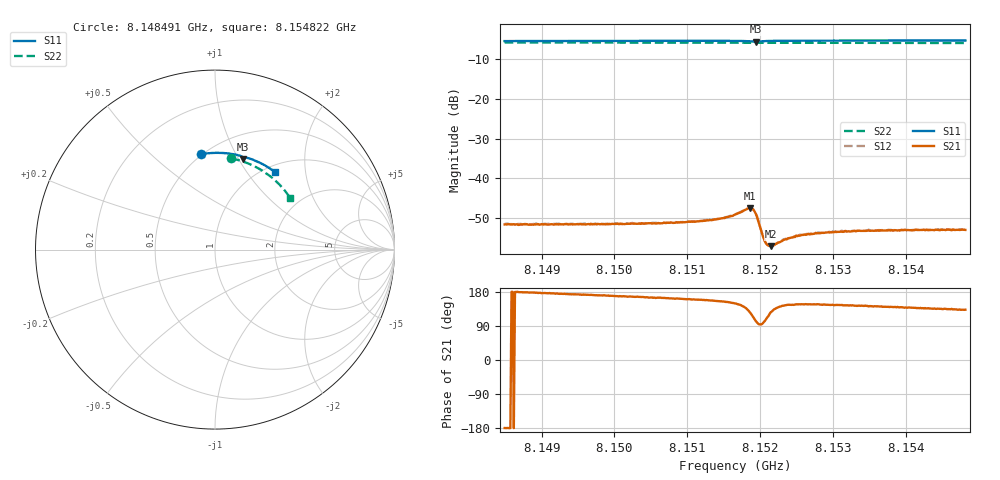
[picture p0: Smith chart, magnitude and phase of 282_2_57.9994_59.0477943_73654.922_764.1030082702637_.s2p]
#  HZ  S  RI  R  50.00
! Rohde & Schwarz Vector Network Analyzer
! Rohde-Schwarz,ZNB20-2Port,1311601062101988,3.16
! Created: UTC 3/21/2024, 1:02:55 AM
! freq[Hz]  re:S11  im:S11  re:S21  im:S21  re:S12  im:S12  re:S22  im:S22
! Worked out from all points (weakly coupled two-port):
!   401 points, 8.148491 GHz to 8.154822 GHz, reference 50 ohm
!   highest |S21| = -47.54 dB at 8.151862 GHz (marker M1); lowest = -57.1 dB at 8.152147 GHz (marker M2)
!   lowest |S11| = -5.5 dB at 8.151941 GHz (marker M3), VSWR 3.25, Z = 37.2 + j52.3 ohm
!   |S11| at or under -10 dB: nowhere
!   |S22| runs from -5.9 to -5.7 dB; largest |S21 - S12| = 0.00013
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8.1484908e9  -0.0757 0.5316  -0.00263 -2.29e-05  -0.00267 5.79e-06  0.0907 0.5078
8.1495512e9  -0.00201 0.5387  -0.00261 0.000372  -0.00265 0.000398  0.1574 0.4903
8.1506116e9  0.0719 0.5357  -0.00264 0.000735  -0.00263 0.0008  0.221 0.4637
8.1513238e9  0.1218 0.5276  -0.00274 0.00117  -0.00273 0.00123  0.2612 0.4412
8.1515296e9  0.1366 0.5237  -0.00289 0.00146  -0.00289 0.0015  0.2723 0.4341
8.1516562e9  0.1462 0.5202  -0.00302 0.00177  -0.00301 0.00183  0.2791 0.4294
8.1518145e9  0.1574 0.5125  -0.00291 0.00285  -0.00288 0.00295  0.2874 0.4236
8.1518619e9  0.159 0.5087  -0.00245 0.00341  -0.00243 0.00348  0.2898 0.4217
8.1519094e9  0.1581 0.5058  -0.00151 0.00374  -0.00147 0.00378  0.2921 0.4199
8.1519411e9  0.1567 0.5055  -0.000814 0.0035  -0.000787 0.00353  0.2936 0.4188
8.1519727e9  0.156 0.5069  -0.000308 0.00295  -0.000305 0.003  0.2951 0.4177
8.152036e9  0.1586 0.5107  -0.000216 0.0019  -0.000216 0.00192  0.2985 0.4155
8.1520677e9  0.1612 0.5119  -0.000374 0.00156  -0.000363 0.00157  0.3001 0.4144
8.1520993e9  0.1639 0.5125  -0.000555 0.00135  -0.000566 0.00134  0.3019 0.4131
8.1521468e9  0.1681 0.5127  -0.000823 0.00113  -0.000793 0.00118  0.3044 0.4114
8.1523209e9  0.182 0.5105  -0.00134 0.001  -0.00136 0.00102  0.3132 0.4044
8.1524475e9  0.1913 0.5079  -0.00149 0.00101  -0.00149 0.00101  0.3195 0.3992
8.1525742e9  0.1999 0.5051  -0.00164 0.00106  -0.0016 0.00109  0.3256 0.394
8.1527166e9  0.2095 0.5014  -0.00166 0.00109  -0.00167 0.00111  0.3325 0.3882
8.1531914e9  0.2404 0.4884  -0.00174 0.00125  -0.00174 0.00126  0.3544 0.3672
8.153777e9  0.2767 0.4697  -0.00171 0.00145  -0.00171 0.00145  0.3797 0.3398
8.1548216e9  0.337 0.4305  -0.00152 0.00165  -0.00152 0.0017  0.4193 0.2868
